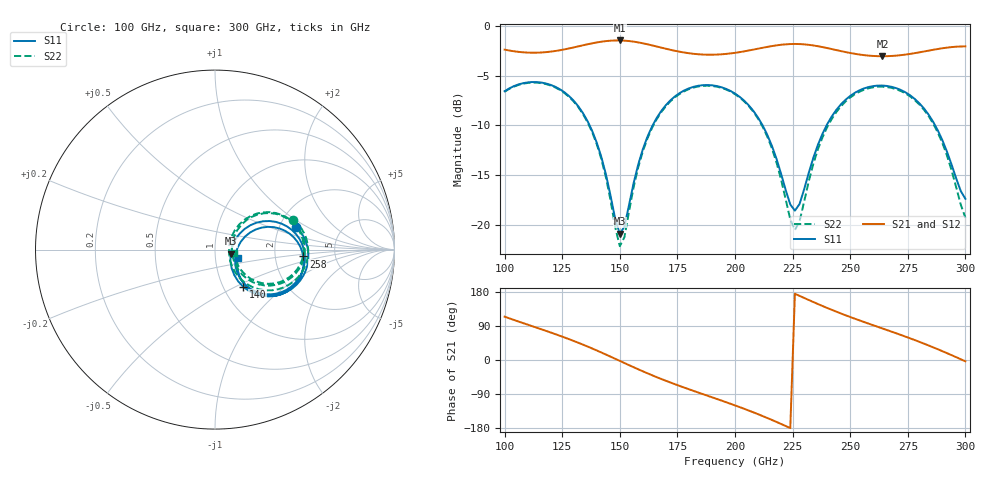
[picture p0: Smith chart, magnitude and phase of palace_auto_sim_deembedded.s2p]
! Created with skrf 1.11.0 (http://scikit-rf.org).
# GHz S DB R 50.0
!freq dBS11 angS11 dBS21 angS21 dBS12 angS12 dBS22 angS22
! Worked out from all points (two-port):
!   101 points, 100 GHz to 300 GHz, reference 50 ohm
!   highest |S21| = -1.45 dB at 150 GHz (marker M1); lowest = -3.0 dB at 264 GHz (marker M2)
!   |S21| within 3 dB of the highest: start of sweep to end of sweep
!   lowest |S11| = -20.9 dB at 150 GHz (marker M3), VSWR 1.20, Z = 59.5 - j2.69 ohm
!   |S11| at or under -10 dB: 136.9 GHz to 164.3 GHz (27.39 GHz wide, 18.2 % of centre); 212 GHz to 239.8 GHz (27.78 GHz wide, 12.3 % of centre); 286.8 GHz to end of sweep
!   |S22| runs from -22.2 to -5.7 dB; largest |S21 - S12| = 1.4e-13
!   S11 on the Smith chart (normalised r, x): 100 GHz: 2.46, +0.81; 140 GHz: 1.24, -0.55; 258 GHz: 2.91, -0.29; 300 GHz: 1.28, -0.12
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100  -6.56 15.8  -2.38 114.4  -2.38 114.4  -6.61 20.9
116  -5.69 -12.7  -2.66 81.0  -2.66 81.0  -5.75 -7.0
126  -6.68 -30.6  -2.35 59.5  -2.35 59.5  -6.75 -24.8
134  -8.76 -44.7  -1.94 40.6  -1.94 40.6  -8.86 -39.0
140  -11.74 -52.8  -1.65 25.2  -1.65 25.2  -11.90 -47.6
150  -20.92 -14.5  -1.45 -2.4  -1.45 -2.4  -22.16 -7.8
152  -20.19 10.4  -1.47 -8.0  -1.47 -8.0  -21.26 21.2
160  -12.40 34.6  -1.74 -29.8  -1.74 -29.8  -12.61 45.4
168  -8.55 24.3  -2.17 -50.1  -2.17 -50.1  -8.67 34.5
184  -6.01 -2.9  -2.84 -85.7  -2.84 -85.7  -6.09 6.9
200  -6.80 -29.4  -2.70 -119.8  -2.70 -119.8  -6.86 -19.9
214  -10.94 -48.4  -2.10 -153.0  -2.10 -153.0  -11.12 -40.8
226  -18.59 -11.3  -1.80 174.8  -1.80 174.8  -20.53 -1.0
234  -13.27 26.0  -1.95 153.0  -1.95 153.0  -13.88 43.3
244  -8.44 18.1  -2.42 127.5  -2.42 127.5  -8.66 33.4
258  -6.14 -4.4  -2.98 96.0  -2.98 96.0  -6.26 9.9
264  -5.99 -14.2  -3.04 83.2  -3.04 83.2  -6.10 -0.2
268  -6.12 -20.7  -3.01 74.7  -3.01 74.7  -6.23 -6.9
278  -7.34 -36.6  -2.73 52.7  -2.73 52.7  -7.45 -23.5
286  -9.64 -47.1  -2.39 33.5  -2.39 33.5  -9.81 -35.4
292  -12.65 -49.4  -2.17 18.1  -2.17 18.1  -13.04 -39.7
300  -17.39 -20.4  -2.05 -3.4  -2.05 -3.4  -19.30 -9.5
